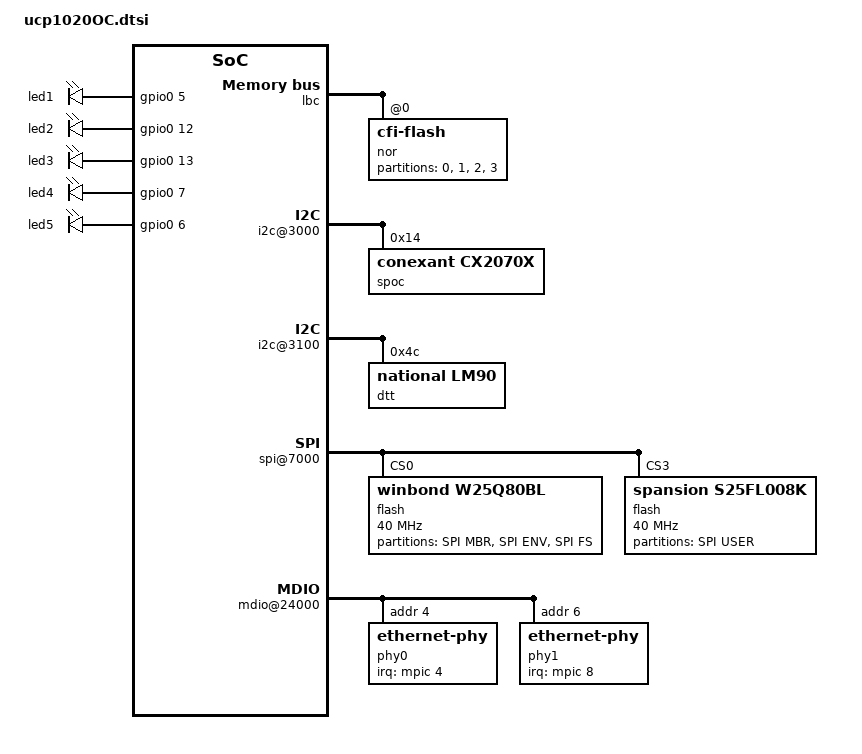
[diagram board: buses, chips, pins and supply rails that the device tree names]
/*
 * uCP1020 OpsController on uCP1020 SOM Rev.1.3 (32-bit address map)
 *
 * Copyright 2013-2018 Arcturus Networks Inc.
 * https://www.ArcturusNetworks.com/OSS
 *
 * Redistribution and use in source and binary forms, with or without
 * modification, are permitted provided that the following conditions
 * are met:
 * 1. Redistributions of source code must retain the above copyright
 *    notice, this list of conditions and the following disclaimer.
 * 2. Redistributions in binary form must reproduce the above copyright
 *    notice, this list of conditions and the following disclaimer in the
 *    documentation and/or other materials provided with the distribution.
 * 3. Neither the name of Arcturus Networks Inc. nor the
 *    names of its contributors may be used to endorse or promote products
 *    derived from this software without specific prior written permission.
 *
 * ALTERNATIVELY, this software may be distributed under the terms of the
 * GNU General Public License ("GPL") as published by the Free Software
 * Foundation, either version 2 of that License or (at your option) any
 * later version.
 *
 * THIS SOFTWARE IS PROVIDED BY ARCTURUS NETWORKS INC. ``AS IS'' AND ANY
 * EXPRESS OR IMPLIED WARRANTIES, INCLUDING, BUT NOT LIMITED TO, THE IMPLIED
 * WARRANTIES OF MERCHANTABILITY AND FITNESS FOR A PARTICULAR PURPOSE ARE
 * DISCLAIMED.  IN NO EVENT SHALL ARCTURUS NETWORKS INC. BE LIABLE FOR ANY
 * DIRECT, INDIRECT, INCIDENTAL, SPECIAL, EXEMPLARY, OR CONSEQUENTIAL DAMAGES
 * (INCLUDING, BUT NOT LIMITED TO, PROCUREMENT OF SUBSTITUTE GOODS OR SERVICES;
 * LOSS OF USE, DATA, OR PROFITS; OR BUSINESS INTERRUPTION) HOWEVER CAUSED AND
 * ON ANY THEORY OF LIABILITY, WHETHER IN CONTRACT, STRICT LIABILITY, OR TORT
 * (INCLUDING NEGLIGENCE OR OTHERWISE) ARISING IN ANY WAY OUT OF THE USE OF THIS
 * SOFTWARE, EVEN IF ADVISED OF THE POSSIBILITY OF SUCH DAMAGE.
 */

&lbc {
	nor@0,0 {
		#address-cells = <1>;
		#size-cells = <1>;
		compatible = "cfi-flash";
		reg = <0x0 0x0 0x04000000>;
		bank-width = <2>;
		device-width = <1>;

		partition@100000 {
			/* 7MB - PART 0 */
			reg = <0x00100000 0x00700000>;
			label = "0";
		};

		partition@800000 {
			/* size=49MB - PART 1 JFFS2 */
			reg = <0x0800000 0x02f00000>;
			label = "1";
		};

		partition@3700000 {
			/*  size=0.5MB- PART 2 CRAMFS */
			reg = <0x03700000 0x00080000>;
			label = "2";
		};

		partition@3780000 {
			/*  size=8MB- PART 3 JFFS2 */
			reg = <0x03780000 0x00800000>;
			label = "3";
		};
	};
};

&soc {
	i2c@3000 {
		spoc@14 {
			compatible = "conexant,cx2070x";
			reg = <0x14>;
		};
	};

	i2c@3100 {
			dtt@4C {
				compatible = "national,lm90";
				reg = <0x4C>;
			};
	};

	spi@7000 {
		flash@0 {
			#address-cells = <1>;
			#size-cells = <1>;
			compatible = "winbond,w25q80bl";
			reg = <0>;
			spi-max-frequency = <40000000>; /* input clock */

			partition@0 {
				label = "SPI MBR";
				reg = <0x00000000 0x00002000>;
				read-only;
			};
			partition@2000 {
				label = "SPI ENV";
				reg = <0x00002000 0x00006000>;
				read-only;
			};
			partition@8000 {
				label = "SPI FS";
				reg = <0x00008000 0x000F8000>;
			};
		};
		flash@3 {
			#address-cells = <1>;
			#size-cells = <1>;
			compatible = "spansion,s25fl008k";
			reg = <3>;
			spi-max-frequency = <40000000>; /* input clock */
			partition@0 {
				label = "SPI USER";
				reg = <0x00000000 0x00100000>;
			};
		};
	};

	usb@22000 {
		phy_type = "ulpi";
		dr_mode = "host";
	};

	mdio@24000 {
		phy0: ethernet-phy@4 {
			interrupt-parent = <&mpic>;
			interrupts = <4 1>;
			reg = <0x04>;
		};

		phy1: ethernet-phy@6 {
			interrupt-parent = <&mpic>;
			interrupts = <8 1>;
			reg = <0x6>;
		};
	};

	enet0: ethernet@b0000 {
		phy-handle = <&phy0>;
		phy-connection-type = "rgmii-id";
	};

	enet1: ethernet@b1000 {
		status = "disabled";
	};

	enet2: ethernet@b2000 {
		phy-handle = <&phy1>;
		phy-connection-type = "rgmii-id";
	};

	gpio0: gpio@f000 {
		compatible = "fsl,mpc8572-gpio", "fsl,pq3-gpio";
		reg = <0xf000 0x1000>;
		interrupts = <47 2>;
		interrupt-parent = <&mpic>;
		#gpio-cells = <2>;
		gpio-controller;
	};

	gpio-leds {
		compatible = "gpio-leds";
		gpio5 {
			label = "led1";		/* LED15 */
			gpios = <&gpio0 5 0>;
		};
		gpio12 {
			label = "led2";		/* LED16 */
			gpios = <&gpio0 12 0>;
		};
		gpio13 {
			label = "led3";		/* LED17 */
			gpios = <&gpio0 13 0>;
		};
		gpio7 {
			label = "led4";		/* LED18 */
			gpios = <&gpio0 7 0>;
		};
		gpio6 {
			label = "led5";		/* LED19 */
			gpios = <&gpio0 6 0>;
		};
	};
/**********
	sdhc@2e000 {
		cd-gpios = <&gpio0 8 0>;	* card detect *
		wp-gpios = <&gpio0 9 0>;	* write protect *
		wp-inverted;			* WP active high *
	};
***********/
};
